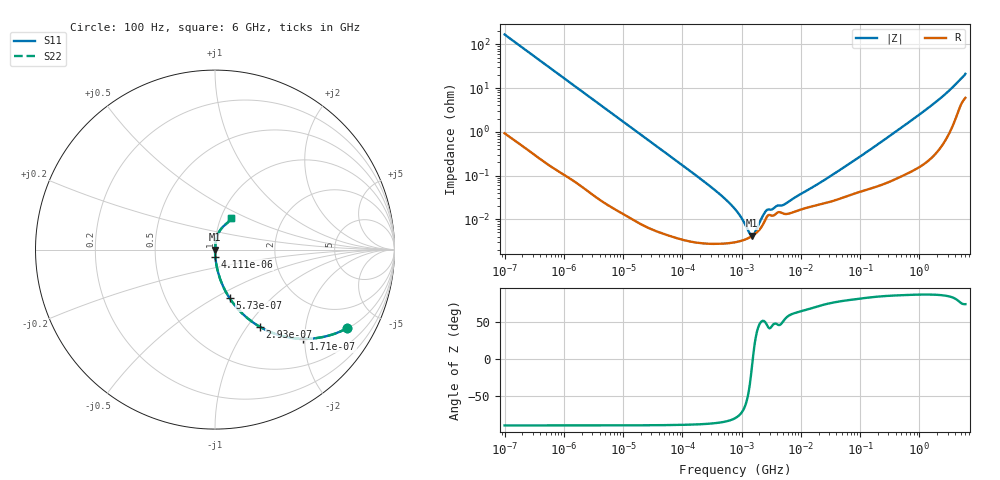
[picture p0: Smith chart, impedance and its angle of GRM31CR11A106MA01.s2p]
!Murata Part Number: GRM31CR11A106MA01
!These Parameters are Measured in Series Mode Connection
!Data Generated on Mar 30, 2021
!  o--ll--o
!Port1  Port2
!  o------o
!Operation Temp=25[degC], DC Bias Voltage=0[V]
!Freq. Start=100[Hz] Stop=6[GHz] 401[Steps]
# Hz S RI R 50
!Freq.(Hz) S11(Real) S11(Imag) S21(Real) S21(Imag) S12(Real) S12(Imag) S22(Real) S22(Imag)
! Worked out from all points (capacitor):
!   401 points, 100 Hz to 6 GHz, reference 50 ohm
!   read as one part in series: C = 9.44 uF near 109 Hz
!   lowest |Z| = 4.19 mohm at 1.516 MHz (marker M1)
!   series resonance near 1.549 MHz, so ESL is about 1.1 nH
!   S11 on the Smith chart (normalised r, x): 100 Hz: 1.02, -3.37; 171 Hz: 1.01, -1.97; 293 Hz: 1.01, -1.15; 573 Hz: 1.00, -0.59; 4.111 kHz: 1.00, -0.08; 6 GHz: 1.12, +0.41
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100  0.738 -0.437  0.262 0.437  0.262 0.437  0.738 -0.437
171  0.4928 -0.4972  0.5072 0.4972  0.5072 0.4972  0.4928 -0.4972
293  0.251 -0.4308  0.749 0.4308  0.749 0.4308  0.251 -0.4308
573  0.0816 -0.2709  0.9184 0.2709  0.9184 0.2709  0.0816 -0.2709
1026  0.0276 -0.1607  0.9724 0.1607  0.9724 0.1607  0.0276 -0.1607
2008  0.00768 -0.0841  0.9923 0.0841  0.9923 0.0841  0.00768 -0.0841
4111  0.00199 -0.0414  0.998 0.0414  0.998 0.0414  0.00199 -0.0414
40335  6.87e-05 -0.00427  0.9999 0.00427  0.9999 0.00427  6.87e-05 -0.00427
330837  2.76e-05 -0.0005  1 0.0005  1 0.0005  2.76e-05 -0.0005
541393  2.8e-05 -0.000282  1 0.000282  1 0.000282  2.8e-05 -0.000282
774597  2.97e-05 -0.000169  1 0.000169  1 0.000169  2.97e-05 -0.000169
1059725  3.31e-05 -8.77e-05  1 8.77e-05  1 8.77e-05  3.31e-05 -8.77e-05
1516199  4.16e-05 -4.8e-06  1 4.8e-06  1 4.8e-06  4.16e-05 -4.8e-06
1983483  5.69e-05 5.83e-05  0.9999 -5.83e-05  0.9999 -5.83e-05  5.69e-05 5.83e-05
2713602  0.000117 0.000116  0.9999 -0.000116  0.9999 -0.000116  0.000117 0.000116
5311619  0.000133 0.000175  0.9999 -0.000175  0.9999 -0.000175  0.000133 0.000175
1.555665e7  0.000198 0.000496  0.9998 -0.000496  0.9998 -0.000496  0.000198 0.000496
7.129496e7  0.000369 0.00197  0.9996 -0.00197  0.9996 -0.00197  0.000369 0.00197
3.124326e8  0.00078 0.00791  0.9992 -0.00791  0.9992 -0.00791  0.00078 0.00791
1.873145e9  0.00532 0.0468  0.9947 -0.0468  0.9947 -0.0468  0.00532 0.0468
3.666503e9  0.0238 0.1003  0.9762 -0.1003  0.9762 -0.1003  0.0238 0.1003
6e9  0.0901 0.1746  0.9099 -0.1746  0.9099 -0.1746  0.0901 0.1746
